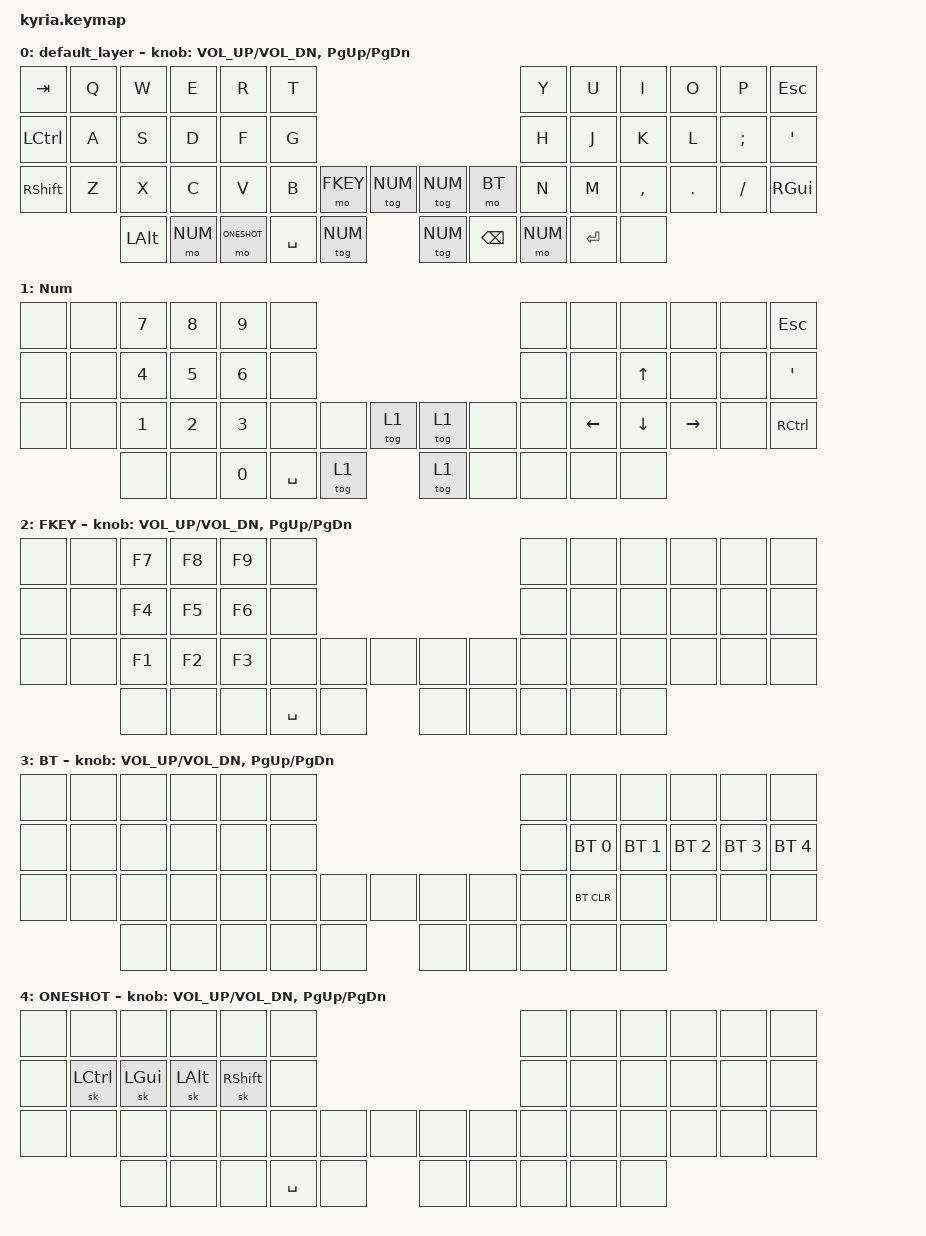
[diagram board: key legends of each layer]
/*
 * Copyright (c) 2020 The ZMK Contributors
 *
 * SPDX-License-Identifier: MIT
 */
#define DEFAULT 0
#define NUM  1
#define FKEY   2
#define BT 3
#define ONESHOT  4

#include <behaviors.dtsi>
#include <dt-bindings/zmk/keys.h>
#include <dt-bindings/zmk/bt.h>
&sk {
    release-after-ms = <2000>;

   
};

/ {
	keymap {
		compatible = "zmk,keymap";

		default_layer {

			bindings = <
	&kp TAB     &kp Q    &kp W  &kp E  &kp R  &kp T                                                 &kp Y   &kp U   &kp I     &kp O       &kp P     &kp ESC
	&kp LCTRL   &kp A    &kp S  &kp D  &kp F  &kp G                                                 &kp H   &kp J   &kp K     &kp L       &kp SEMI  &kp SQT
	&kp RSHIFT  &kp Z    &kp X  &kp C  &kp V  &kp B     &mo FKEY  &tog NUM      &tog NUM  &mo BT    &kp N   &kp M   &kp COMMA &kp PERIOD  &kp FSLH  &kp RGUI
	                 &kp LALT   &mo NUM    &mo ONESHOT  &kp SPACE &tog NUM      &tog NUM  &kp BSPC  &mo NUM &kp RET &none
			>;

			sensor-bindings = <&inc_dec_kp C_VOL_UP C_VOL_DN &inc_dec_kp PG_UP PG_DN>;
	};
	
	NUM_layer {
	label = "Num";
            bindings = <
          &none   &none   &kp N7 &kp N8 &kp N9 &none                                              &none &none       &none    &none      &none &kp ESC
	 &none   &none   &kp N4 &kp N5 &kp N6 &none                                             &none &none      &kp UP &none    &none &kp SQT
	 &none   &none &kp N1 &kp N2 &kp N3 &none  &none &tog 1     &tog 1 &none &none  &kp LEFT  &kp DOWN  &kp RIGHT  &none  &kp RCTRL
	                 &none &none &kp N0 &kp SPACE &tog 1       &tog 1 &none  &none &none &none
			 
            		>;
			
	};
	FKEY_layer {
	label = "FKEY";
            bindings = <
     &none   &none  &kp F7 &kp F8 &kp F9 &none                                               &none &none &none &none &none &none 
	&none &none   &kp F4 &kp F5 &kp F6 &none                                                &none &none &none &none &none &none 
	&none  &none &kp F1 &kp F2 &kp F3 &none &none &none      &none &none         &none &none &none &none &none &none
	               &none &none &none &kp SPACE &none       &none  &none  &none &none &none
			 
            		>;
			
			sensor-bindings = <&inc_dec_kp C_VOL_UP C_VOL_DN &inc_dec_kp PG_UP PG_DN>;
	};
	BT_layer {
	label = "BT";
            bindings = <
        &none &none &none &none &none &none                                        &none &none       &none &none &none &none
	&none &none &none &none &none &none                                           &none &bt BT_SEL 0   &bt BT_SEL 1   &bt BT_SEL 2   &bt BT_SEL 3   &bt BT_SEL 4
	&none &none &none &none &none &none     &none &none        &none &none        &none &bt BT_CLR  &none &none &none &none
	                     &none &none &none &none &none         &none &none   &none &none &none
			 
            		>;
			
			sensor-bindings = <&inc_dec_kp C_VOL_UP C_VOL_DN &inc_dec_kp PG_UP PG_DN>;
		};
		ONESHOT_layer {
	label = "ONESHOT";
            bindings = <
        &none &none &none &none &none &none                                            &none &none &none &none &none &none
	&none &sk LCTRL &sk LGUI &sk LALT &sk RSHIFT &none                             &none &none  &none &none &none &none
	&none &none &none &none &none &none     &none &none        &none &none        &none &none &none &none &none &none
	                     &none &none &none &kp SPACE &none         &none &none   &none &none &none
			 
            		>;
			
			sensor-bindings = <&inc_dec_kp C_VOL_UP C_VOL_DN &inc_dec_kp PG_UP PG_DN>;
		};
	};
};
